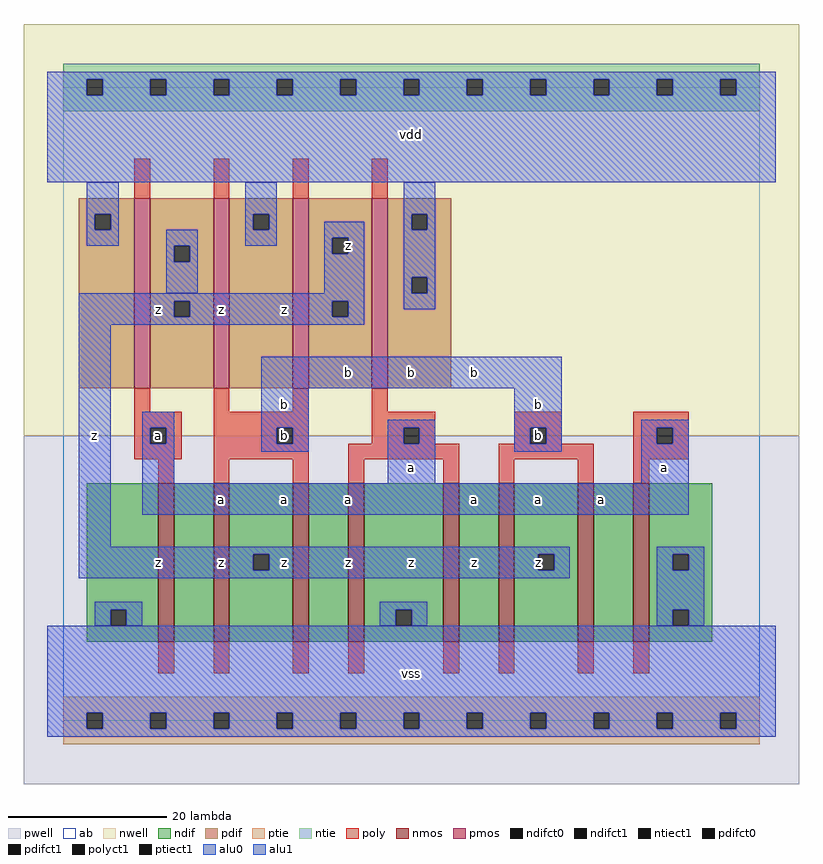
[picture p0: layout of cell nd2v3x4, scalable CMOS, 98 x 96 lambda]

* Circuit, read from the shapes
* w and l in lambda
.subckt nd2v3x4 a b vdd vss z
M1 n1 a vss vss nfet w=20 l=2
M2 z b n1 vss nfet w=20 l=2
M3 n2 b z vss nfet w=20 l=2
M4 vss a n2 vss nfet w=20 l=2
M5 n3 a vss vss nfet w=20 l=2
M6 z b n3 vss nfet w=20 l=2
M7 n4 b z vss nfet w=20 l=2
M8 vss a n4 vss nfet w=20 l=2
M9 z a vdd vdd pfet w=24 l=2 m=2
M10 vdd b z vdd pfet w=24 l=2 m=2
.ends

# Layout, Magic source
magic
tech scmos
<< ab >>
rect 0 0 88 80
<< nwell >>
rect -5 36 93 88
<< pwell >>
rect -5 -8 93 36
<< poly >>
rect 9 66 11 71
rect 19 66 21 71
rect 29 66 31 71
rect 39 66 41 71
rect 9 39 11 42
rect 19 39 21 42
rect 29 39 31 42
rect 9 37 15 39
rect 9 35 11 37
rect 13 35 15 37
rect 9 33 15 35
rect 19 37 31 39
rect 19 35 27 37
rect 29 35 31 37
rect 39 39 41 42
rect 39 37 47 39
rect 39 35 43 37
rect 45 35 47 37
rect 57 37 63 39
rect 57 35 59 37
rect 61 35 63 37
rect 72 37 79 39
rect 72 35 75 37
rect 77 35 79 37
rect 19 33 31 35
rect 12 30 14 33
rect 19 30 21 33
rect 29 30 31 33
rect 36 33 50 35
rect 36 30 38 33
rect 48 30 50 33
rect 55 33 67 35
rect 55 30 57 33
rect 65 30 67 33
rect 72 33 79 35
rect 72 30 74 33
rect 12 6 14 10
rect 19 6 21 10
rect 29 6 31 10
rect 36 6 38 10
rect 48 6 50 10
rect 55 6 57 10
rect 65 6 67 10
rect 72 6 74 10
<< ndif >>
rect 3 14 12 30
rect 3 12 6 14
rect 8 12 12 14
rect 3 10 12 12
rect 14 10 19 30
rect 21 21 29 30
rect 21 19 24 21
rect 26 19 29 21
rect 21 10 29 19
rect 31 10 36 30
rect 38 14 48 30
rect 38 12 42 14
rect 44 12 48 14
rect 38 10 48 12
rect 50 10 55 30
rect 57 21 65 30
rect 57 19 60 21
rect 62 19 65 21
rect 57 10 65 19
rect 67 10 72 30
rect 74 21 82 30
rect 74 19 77 21
rect 79 19 82 21
rect 74 14 82 19
rect 74 12 77 14
rect 79 12 82 14
rect 74 10 82 12
<< pdif >>
rect 2 64 9 66
rect 2 62 4 64
rect 6 62 9 64
rect 2 42 9 62
rect 11 60 19 66
rect 11 58 14 60
rect 16 58 19 60
rect 11 53 19 58
rect 11 51 14 53
rect 16 51 19 53
rect 11 42 19 51
rect 21 64 29 66
rect 21 62 24 64
rect 26 62 29 64
rect 21 42 29 62
rect 31 61 39 66
rect 31 59 34 61
rect 36 59 39 61
rect 31 53 39 59
rect 31 51 34 53
rect 36 51 39 53
rect 31 42 39 51
rect 41 64 49 66
rect 41 62 44 64
rect 46 62 49 64
rect 41 56 49 62
rect 41 54 44 56
rect 46 54 49 56
rect 41 42 49 54
<< alu1 >>
rect -2 81 90 82
rect -2 79 3 81
rect 5 79 11 81
rect 13 79 19 81
rect 21 79 27 81
rect 29 79 35 81
rect 37 79 43 81
rect 45 79 51 81
rect 53 79 59 81
rect 61 79 67 81
rect 69 79 75 81
rect 77 79 83 81
rect 85 79 90 81
rect -2 68 90 79
rect 33 61 38 63
rect 33 59 34 61
rect 36 59 38 61
rect 33 54 38 59
rect 2 53 38 54
rect 2 51 14 53
rect 16 51 34 53
rect 36 51 38 53
rect 2 50 38 51
rect 2 22 6 50
rect 25 42 63 46
rect 10 37 14 39
rect 10 35 11 37
rect 13 35 14 37
rect 10 30 14 35
rect 25 37 31 42
rect 25 35 27 37
rect 29 35 31 37
rect 25 34 31 35
rect 41 37 47 38
rect 41 35 43 37
rect 45 35 47 37
rect 41 30 47 35
rect 57 37 63 42
rect 57 35 59 37
rect 61 35 63 37
rect 57 34 63 35
rect 73 37 79 38
rect 73 35 75 37
rect 77 35 79 37
rect 73 30 79 35
rect 10 26 79 30
rect 2 21 64 22
rect 2 19 24 21
rect 26 19 60 21
rect 62 19 64 21
rect 2 18 64 19
rect -2 1 90 12
rect -2 -1 3 1
rect 5 -1 11 1
rect 13 -1 19 1
rect 21 -1 27 1
rect 29 -1 35 1
rect 37 -1 43 1
rect 45 -1 51 1
rect 53 -1 59 1
rect 61 -1 67 1
rect 69 -1 75 1
rect 77 -1 83 1
rect 85 -1 90 1
rect -2 -2 90 -1
<< ptie >>
rect 0 1 88 3
rect 0 -1 3 1
rect 5 -1 11 1
rect 13 -1 19 1
rect 21 -1 27 1
rect 29 -1 35 1
rect 37 -1 43 1
rect 45 -1 51 1
rect 53 -1 59 1
rect 61 -1 67 1
rect 69 -1 75 1
rect 77 -1 83 1
rect 85 -1 88 1
rect 0 -3 88 -1
<< ntie >>
rect 0 81 88 83
rect 0 79 3 81
rect 5 79 11 81
rect 13 79 19 81
rect 21 79 27 81
rect 29 79 35 81
rect 37 79 43 81
rect 45 79 51 81
rect 53 79 59 81
rect 61 79 67 81
rect 69 79 75 81
rect 77 79 83 81
rect 85 79 88 81
rect 0 77 88 79
<< nmos >>
rect 12 10 14 30
rect 19 10 21 30
rect 29 10 31 30
rect 36 10 38 30
rect 48 10 50 30
rect 55 10 57 30
rect 65 10 67 30
rect 72 10 74 30
<< pmos >>
rect 9 42 11 66
rect 19 42 21 66
rect 29 42 31 66
rect 39 42 41 66
<< polyct1 >>
rect 11 35 13 37
rect 27 35 29 37
rect 43 35 45 37
rect 59 35 61 37
rect 75 35 77 37
<< ndifct0 >>
rect 6 12 8 14
rect 42 12 44 14
rect 77 19 79 21
rect 77 12 79 14
<< ndifct1 >>
rect 24 19 26 21
rect 60 19 62 21
<< ntiect1 >>
rect 3 79 5 81
rect 11 79 13 81
rect 19 79 21 81
rect 27 79 29 81
rect 35 79 37 81
rect 43 79 45 81
rect 51 79 53 81
rect 59 79 61 81
rect 67 79 69 81
rect 75 79 77 81
rect 83 79 85 81
<< ptiect1 >>
rect 3 -1 5 1
rect 11 -1 13 1
rect 19 -1 21 1
rect 27 -1 29 1
rect 35 -1 37 1
rect 43 -1 45 1
rect 51 -1 53 1
rect 59 -1 61 1
rect 67 -1 69 1
rect 75 -1 77 1
rect 83 -1 85 1
<< pdifct0 >>
rect 4 62 6 64
rect 14 58 16 60
rect 24 62 26 64
rect 44 62 46 64
rect 44 54 46 56
<< pdifct1 >>
rect 14 51 16 53
rect 34 59 36 61
rect 34 51 36 53
<< alu0 >>
rect 3 64 7 68
rect 3 62 4 64
rect 6 62 7 64
rect 23 64 27 68
rect 23 62 24 64
rect 26 62 27 64
rect 43 64 47 68
rect 3 60 7 62
rect 13 60 17 62
rect 23 60 27 62
rect 13 58 14 60
rect 16 58 17 60
rect 13 54 17 58
rect 43 62 44 64
rect 46 62 47 64
rect 43 56 47 62
rect 43 54 44 56
rect 46 54 47 56
rect 43 52 47 54
rect 75 21 81 22
rect 75 19 77 21
rect 79 19 81 21
rect 4 14 10 15
rect 4 12 6 14
rect 8 12 10 14
rect 40 14 46 15
rect 40 12 42 14
rect 44 12 46 14
rect 75 14 81 19
rect 75 12 77 14
rect 79 12 81 14
<< labels >>
rlabel alu1 12 20 12 20 6 z
rlabel polyct1 12 36 12 36 6 a
rlabel alu1 4 36 4 36 6 z
rlabel alu1 12 52 12 52 6 z
rlabel alu1 20 20 20 20 6 z
rlabel alu1 20 28 20 28 6 a
rlabel alu1 28 20 28 20 6 z
rlabel alu1 28 28 28 28 6 a
rlabel polyct1 28 36 28 36 6 b
rlabel alu1 28 40 28 40 6 b
rlabel alu1 20 52 20 52 6 z
rlabel alu1 28 52 28 52 6 z
rlabel alu1 44 6 44 6 6 vss
rlabel alu1 36 20 36 20 6 z
rlabel alu1 36 28 36 28 6 a
rlabel alu1 44 20 44 20 6 z
rlabel alu1 44 32 44 32 6 a
rlabel alu1 36 44 36 44 6 b
rlabel alu1 44 44 44 44 6 b
rlabel alu1 36 60 36 60 6 z
rlabel alu1 44 74 44 74 6 vdd
rlabel alu1 52 20 52 20 6 z
rlabel alu1 52 28 52 28 6 a
rlabel alu1 60 20 60 20 6 z
rlabel alu1 60 28 60 28 6 a
rlabel alu1 68 28 68 28 6 a
rlabel alu1 52 44 52 44 6 b
rlabel polyct1 60 36 60 36 6 b
rlabel alu1 60 40 60 40 6 b
rlabel alu1 76 32 76 32 6 a
<< end >>
